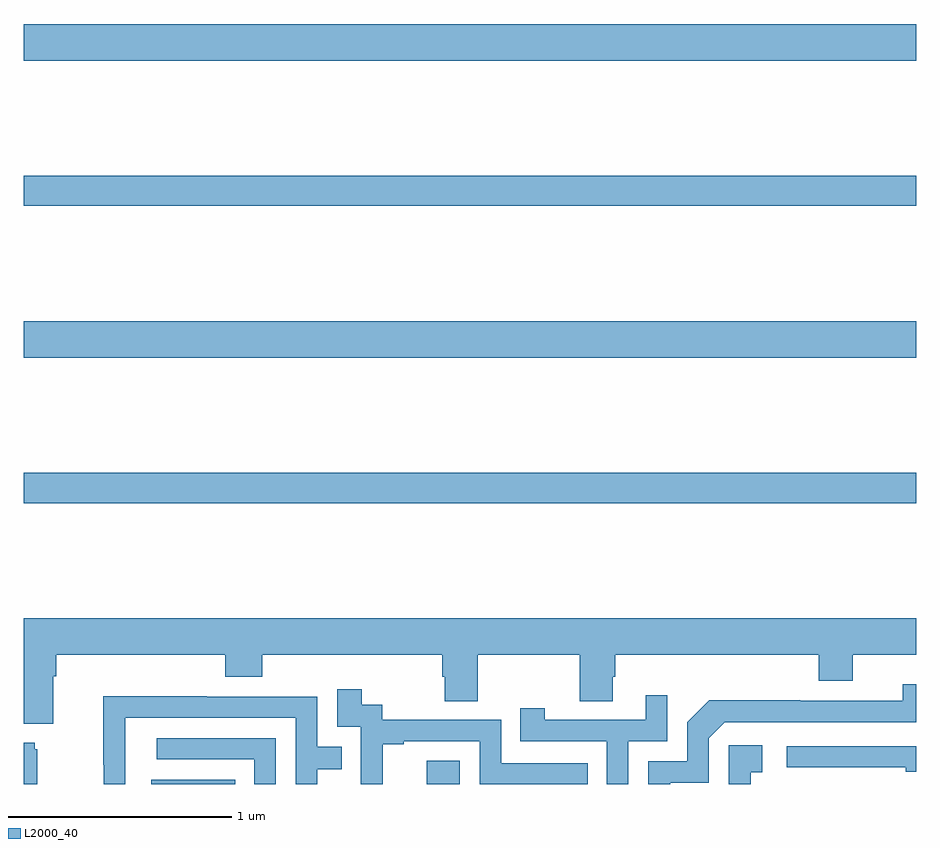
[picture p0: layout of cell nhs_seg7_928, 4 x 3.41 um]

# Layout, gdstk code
import gdstk
lib = gdstk.Library(unit=1e-6, precision=1e-09)
def R(c, l, rs):  # rectangles x0, y0, x1, y1
    for r in rs: c.add(gdstk.rectangle(r[:2], r[2:], *l))
def P(c, l, *ps):  # polygons
    for p in ps: c.add(gdstk.Polygon(p, *l))
L2000_40 = (2000, 40)

nhs_seg7_928 = lib.new_cell('nhs_seg7_928')
R(nhs_seg7_928, L2000_40, [(179.57,1036,179.948,1036.018), (180.807,1036,180.954,1036.105), (179,1037.26,183,1037.396), (179,1037.912,183,1038.076), (179,1038.592,183,1038.728), (179,1039.244,183,1039.408)])
P(nhs_seg7_928, L2000_40, [(179.131,1036.484),(179.144,1036.484),(179.144,1036.58),(179.903,1036.58),(179.903,1036.481),(180.068,1036.481),(180.068,1036.58),(180.875,1036.58),(180.875,1036.482),(180.887,1036.482),(180.887,1036.372),(181.035,1036.372),(181.035,1036.58),(181.492,1036.58),(181.492,1036.372),(181.639,1036.372),(181.639,1036.482),(181.652,1036.482),(181.652,1036.58),(182.564,1036.58),(182.564,1036.463),(182.716,1036.463),(182.716,1036.58),(183,1036.58),(183,1036.744),(179,1036.744),(179,1036.271),(179.131,1036.271)],
  [(181.897,1036.005),(182.07,1036.005),(182.07,1036.206),(182.142,1036.278),(183,1036.278),(183,1036.447),(182.94,1036.447),(182.94,1036.374),(182.48,1036.374),(182.48,1036.376),(182.072,1036.376),(181.974,1036.278),(181.974,1036.101),(181.8,1036.101),(181.8,1036),(181.897,1036)],
  [(180.608,1036.179),(180.703,1036.179),(180.703,1036.191),(181.044,1036.191),(181.044,1036),(181.529,1036),(181.529,1036.092),(181.14,1036.092),(181.14,1036.287),(180.606,1036.287),(180.606,1036.356),(180.514,1036.356),(180.514,1036.426),(180.405,1036.426),(180.405,1036.257),(180.51,1036.257),(180.51,1036.028),(180.509,1036.028),(180.509,1036),(180.608,1036)],
  [(181.71,1036.191),(181.884,1036.191),(181.884,1036.399),(181.787,1036.399),(181.787,1036.287),(181.336,1036.287),(181.336,1036.339),(181.225,1036.339),(181.225,1036.191),(181.614,1036.191),(181.614,1036),(181.71,1036)],
  [(179.454,1036.296),(180.219,1036.296),(180.219,1036),(180.315,1036),(180.315,1036.066),(180.425,1036.066),(180.425,1036.167),(180.315,1036.167),(180.315,1036.392),(179.819,1036.392),(179.819,1036.394),(179.356,1036.394),(179.356,1036.087),(179.358,1036.087),(179.358,1036),(179.454,1036)],
  [(180.129,1036.206),(179.595,1036.206),(179.595,1036.11),(180.033,1036.11),(180.033,1036),(180.129,1036)],
  [(179.059,1036.155),(179.048,1036.155),(179.048,1036.186),(179,1036.186),(179,1036),(179.059,1036)],
  [(182.258,1036.053),(182.311,1036.053),(182.311,1036.174),(182.16,1036.174),(182.16,1036),(182.258,1036)],
  [(183,1036.17),(182.421,1036.17),(182.421,1036.074),(182.953,1036.074),(182.953,1036.054),(183,1036.054)])

lib.write_gds('nhs_seg7_928.gds')
